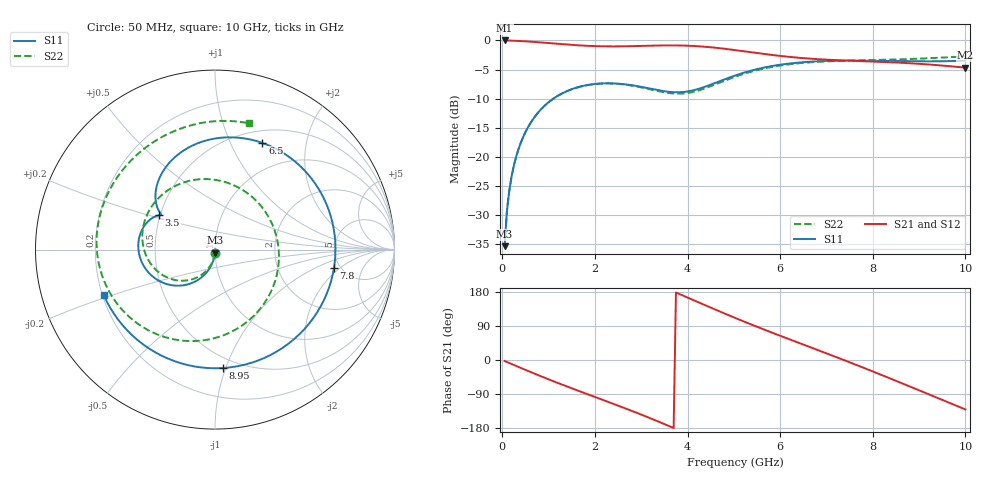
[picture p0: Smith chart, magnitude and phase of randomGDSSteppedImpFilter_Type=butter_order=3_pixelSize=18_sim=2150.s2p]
! freq	dB(S11)	phase(S11)	dB(S12)	phase(S12)
!  dB(S21)	phase(S21)	dB(S22)	phase(S22)
!S-par simulation data
#  GHz  S  DB  R 50
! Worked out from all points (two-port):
!   200 points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, 50 MHz to 10 GHz, reference 50 ohm
!   highest |S21| = 0.00 dB at 50 MHz (marker M1); lowest = -4.7 dB at 10 GHz (marker M2)
!   |S21| within 3 dB of the highest: start of sweep to 6.441 GHz
!   lowest |S11| = -35.4 dB at 50 MHz (marker M3), VSWR 1.03, Z = 49.9 - j1.7 ohm
!   |S11| at or under -10 dB: start of sweep to 1.103 GHz
!   |S22| runs from -35.4 to -2.7 dB; largest |S21 - S12| = 0
!   S11 on the Smith chart (normalised r, x): 50 MHz: 1.00, -0.03; 3.5 GHz: 0.49, +0.22; 6.5 GHz: 0.65, +1.33; 7.8 GHz: 4.43, -1.65; 8.95 GHz: 0.42, -0.98; 10 GHz: 0.20, -0.19
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0.05  -35.35 -92.4  -0.00 -2.7  -0.00 -2.7  -35.35 -92.8
0.1  -29.35 -95.0  -0.01 -5.3  -0.01 -5.3  -29.35 -95.9
0.2  -23.39 -100.0  -0.04 -10.5  -0.04 -10.5  -23.39 -101.7
0.5  -15.76 -114.4  -0.15 -26.1  -0.15 -26.1  -15.76 -118.8
1.1  -10.01 -141.3  -0.53 -55.9  -0.53 -55.9  -10.03 -151.6
1.75  -7.81 -167.0  -0.89 -86.2  -0.89 -86.2  -7.82 173.6
2.55  -7.46 166.5  -1.02 -122.7  -1.02 -122.7  -7.50 127.2
3  -7.98 155.4  -0.95 -144.0  -0.95 -144.0  -8.07 95.9
3.4  -8.60 149.2  -0.87 -163.9  -0.87 -163.9  -8.77 62.5
3.5  -8.73 148.4  -0.86 -169.0  -0.86 -169.0  -8.92 53.2
3.85  -8.89 146.8  -0.87 172.8  -0.87 172.8  -9.14 18.1
4.25  -8.29 145.0  -1.01 151.5  -1.01 151.5  -8.57 -22.9
5.05  -5.97 128.2  -1.69 109.9  -1.69 109.9  -6.18 -89.3
5.7  -4.59 103.5  -2.38 78.1  -2.38 78.1  -4.75 -127.7
6.5  -3.74 66.0  -3.04 40.7  -3.04 40.7  -3.85 -164.0
6.7  -3.63 55.6  -3.16 31.5  -3.16 31.5  -3.73 -171.9
7.3  -3.47 22.0  -3.42 3.5  -3.42 3.5  -3.51 166.3
7.8  -3.47 -8.8  -3.56 -20.4  -3.56 -20.4  -3.41 149.6
8.35  -3.53 -44.9  -3.73 -47.4  -3.73 -47.4  -3.31 131.8
8.95  -3.59 -86.0  -3.99 -77.4  -3.99 -77.4  -3.15 112.2
9.45  -3.58 -120.5  -4.28 -102.6  -4.28 -102.6  -2.97 95.1
10  -3.48 -158.0  -4.68 -130.5  -4.68 -130.5  -2.75 74.8
